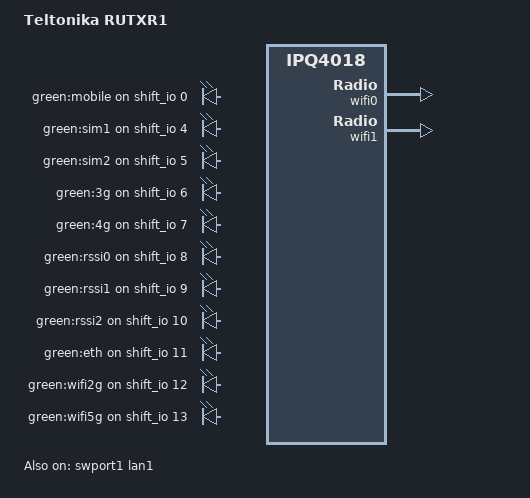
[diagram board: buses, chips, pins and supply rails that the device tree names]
// SPDX-License-Identifier: GPL-2.0-or-later OR MIT

#include "qcom-ipq4018-rutx-shiftreg.dtsi"

/ {
	model = "Teltonika RUTXR1";
	compatible = "teltonika,rutxr1";

	aliases {
		led-boot = &led_rssi0;
		led-failsafe = &led_rssi0;
		led-running = &led_rssi0;
		led-upgrade = &led_rssi0;
	};

	soc {
		gpio-export {
			/* No digital I/O on this model */
			/delete-node/ gpio_in;

			gpio_modem_reset {
				gpio-export,name = "modem_reset";
				gpio-export,output = <0>;
				gpios = <&shift_io 1 GPIO_ACTIVE_HIGH>;
			};

			gpio_modem_power {
				gpio-export,name = "modem_power";
				gpio-export,output = <0>;
				gpios = <&shift_io 2 GPIO_ACTIVE_HIGH>;
			};

			gpio_sim_select {
				gpio-export,name = "sim_sel";
				/* 0 = SIM1 ; 1 = SIM2 */
				gpio-export,output = <0>;
				gpios = <&shift_io 3 GPIO_ACTIVE_HIGH>;
			};
		};

		leds {
			compatible = "gpio-leds";

			led-0 {
				label = "green:mobile";
				gpios = <&shift_io 0 GPIO_ACTIVE_HIGH>;
			};

			led-1 {
				label = "green:sim1";
				gpios = <&shift_io 4 GPIO_ACTIVE_HIGH>;
			};

			led-2 {
				label = "green:sim2";
				gpios = <&shift_io 5 GPIO_ACTIVE_HIGH>;
			};

			led-3 {
				label = "green:3g";
				gpios = <&shift_io 6 GPIO_ACTIVE_HIGH>;
			};

			led-4 {
				label = "green:4g";
				gpios = <&shift_io 7 GPIO_ACTIVE_HIGH>;
			};

			led_rssi0: led-5 {
				label = "green:rssi0";
				gpios = <&shift_io 8 GPIO_ACTIVE_HIGH>;
			};

			led-6 {
				label = "green:rssi1";
				gpios = <&shift_io 9 GPIO_ACTIVE_HIGH>;
			};

			led-7 {
				label = "green:rssi2";
				gpios = <&shift_io 10 GPIO_ACTIVE_HIGH>;
			};

			led-8 {
				label = "green:eth";
				gpios = <&shift_io 11 GPIO_ACTIVE_HIGH>;
			};

			led-9 {
				label = "green:wifi2g";
				gpios = <&shift_io 12 GPIO_ACTIVE_HIGH>;
				linux,default-trigger = "phy0tpt";
			};

			led-10 {
				label = "green:wifi5g";
				gpios = <&shift_io 13 GPIO_ACTIVE_HIGH>;
				linux,default-trigger = "phy1tpt";
			};
		};
	};
};

/*
 * Four LAN ports on switch ports 1-4. The WAN port is a copper/SFP combo
 * port in the vendor firmware; only the copper side is described here.
 */
&swport1 {
	status = "okay";

	label = "lan1";
};

&swport2 {
	label = "lan2";
};

&swport3 {
	label = "lan3";
};

&swport4 {
	label = "lan4";
};

&wifi0 {
	status = "okay";
	qcom,ath10k-calibration-variant = "Teltonika-RUTX10";
};

&wifi1 {
	status = "okay";
	qcom,ath10k-calibration-variant = "Teltonika-RUTX10";
};
